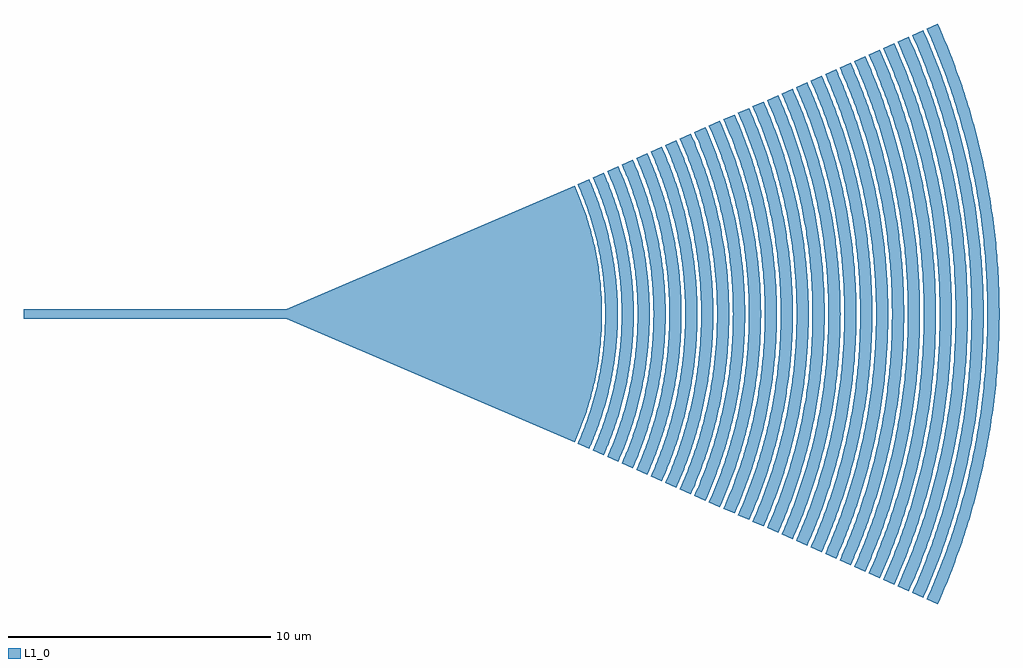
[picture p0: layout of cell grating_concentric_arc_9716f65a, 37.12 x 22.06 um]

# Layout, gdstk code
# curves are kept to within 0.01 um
import gdstk
lib = gdstk.Library(unit=1e-6, precision=2e-09)
def R(c, l, rs):  # rectangles x0, y0, x1, y1
    for r in rs: c.add(gdstk.rectangle(r[:2], r[2:], *l))
def P(c, l, *ps):  # polygons
    for p in ps: c.add(gdstk.Polygon(p, *l))
L1_0 = (1, 0)

straight_3aa2beef = lib.new_cell('straight_3aa2beef')
R(straight_3aa2beef, L1_0, [(0,-0.174,10,0.174)])

ring_5425ca11_transform_ = lib.new_cell('ring_5425ca11_transform_9e591df8')
P(ring_5425ca11_transform_, L1_0, [(11.074,-4.93),(11.24,-4.542),(11.462,-3.946),(11.634,-3.41),(11.78,-2.864),(11.9,-2.314),(12.004,-1.688),(12.064,-1.196),(12.11,-0.564),(12.122,0.142),(12.088,0.916),(12.024,1.548),(11.9,2.314),(11.728,3.07),(11.572,3.612),(11.318,4.344),(11.074,4.93),(11.514,5.126),(11.742,4.586),(11.988,3.896),(12.176,3.262),(12.374,2.406),(12.502,1.608),(12.574,0.88),(12.604,0.146),(12.592,-0.586),(12.52,-1.464),(12.374,-2.406),(12.176,-3.262),(12.076,-3.616),(11.87,-4.242),(11.514,-5.126)])

ring_3b94242a_transform_ = lib.new_cell('ring_3b94242a_transform_ae94267e')
P(ring_3b94242a_transform_, L1_0, [(11.648,-5.186),(11.904,-4.57),(12.08,-4.08),(12.236,-3.586),(12.424,-2.868),(12.544,-2.288),(12.646,-1.628),(12.702,-1.112),(12.74,-0.52),(12.75,0.148),(12.714,0.964),(12.646,1.628),(12.544,2.288),(12.424,2.868),(12.236,3.586),(11.982,4.36),(11.648,5.186),(12.068,5.372),(12.36,4.662),(12.61,3.936),(12.818,3.196),(12.982,2.446),(13.112,1.61),(13.178,0.922),(13.21,0.076),(13.196,-0.614),(13.112,-1.61),(12.982,-2.446),(12.78,-3.344),(12.49,-4.3),(12.276,-4.878),(12.068,-5.372)])

ring_590d5041_transform_ = lib.new_cell('ring_590d5041_transform_d5f68341')
P(ring_590d5041_transform_, L1_0, [(12.2,-5.432),(12.496,-4.714),(12.702,-4.126),(12.88,-3.532),(13.03,-2.928),(13.166,-2.242),(13.256,-1.628),(13.328,-0.854),(13.35,-0.388),(13.35,0.388),(13.304,1.164),(13.236,1.782),(13.11,2.548),(12.92,3.382),(12.702,4.126),(12.496,4.714),(12.2,5.432),(12.62,5.618),(12.926,4.876),(13.186,4.116),(13.424,3.264),(13.576,2.556),(13.702,1.764),(13.786,0.884),(13.814,0.16),(13.8,-0.642),(13.712,-1.684),(13.576,-2.556),(13.344,-3.576),(13.114,-4.346),(12.868,-5.026),(12.62,-5.618)])

ring_b0ef972c_transform_ = lib.new_cell('ring_b0ef972c_transform_a932f15d')
P(ring_b0ef972c_transform_, L1_0, [(12.752,-5.678),(12.974,-5.154),(13.226,-4.468),(13.396,-3.926),(13.584,-3.22),(13.734,-2.504),(13.846,-1.782),(13.914,-1.136),(13.954,-0.406),(13.954,0.406),(13.914,1.136),(13.824,1.942),(13.688,2.744),(13.484,3.612),(13.302,4.236),(13.062,4.926),(12.752,5.678),(13.172,5.864),(13.55,4.932),(13.814,4.136),(14.05,3.244),(14.186,2.586),(14.312,1.758),(14.39,0.922),(14.418,0.168),(14.404,-0.67),(14.322,-1.674),(14.186,-2.586),(13.95,-3.65),(13.688,-4.536),(13.462,-5.168),(13.172,-5.864)])

ring_9b2fea34_transform_ = lib.new_cell('ring_9b2fea34_transform_ec5ced62')
P(ring_9b2fea34_transform_, L1_0, [(13.306,-5.924),(13.536,-5.378),(13.852,-4.5),(14.046,-3.852),(14.21,-3.194),(14.358,-2.446),(14.446,-1.858),(14.516,-1.184),(14.556,-0.508),(14.556,0.508),(14.502,1.354),(14.398,2.194),(14.264,2.946),(14.09,3.688),(13.878,4.42),(13.536,5.378),(13.306,5.924),(13.724,6.11),(14.026,5.384),(14.316,4.56),(14.578,3.634),(14.748,2.866),(14.89,2.004),(14.988,1.048),(15.022,0.262),(15.012,-0.612),(14.942,-1.57),(14.796,-2.608),(14.578,-3.634),(14.316,-4.56),(14.026,-5.384),(13.724,-6.11)])

ring_90b3880c_transform_ = lib.new_cell('ring_90b3880c_transform_84ff6cfa')
P(ring_90b3880c_transform_, L1_0, [(13.858,-6.17),(14.162,-5.436),(14.454,-4.604),(14.606,-4.096),(14.8,-3.326),(14.954,-2.548),(15.034,-2.024),(15.112,-1.322),(15.16,-0.53),(15.16,0.53),(15.112,1.322),(15.022,2.112),(14.874,2.98),(14.696,3.756),(14.454,4.604),(14.162,5.436),(13.858,6.17),(14.278,6.356),(14.558,5.686),(14.892,4.742),(15.12,3.958),(15.342,2.982),(15.464,2.266),(15.534,1.724),(15.584,1.18),(15.628,0.182),(15.616,-0.636),(15.534,-1.724),(15.422,-2.534),(15.208,-3.604),(15.048,-4.22),(14.892,-4.742),(14.558,-5.686),(14.278,-6.356)])

ring_0b2ab13f_transform_ = lib.new_cell('ring_0b2ab13f_transform_c422fffd')
P(ring_0b2ab13f_transform_, L1_0, [(14.41,-6.416),(14.66,-5.824),(14.974,-4.962),(15.188,-4.26),(15.37,-3.548),(15.534,-2.74),(15.656,-1.922),(15.736,-1.1),(15.77,-0.368),(15.764,0.55),(15.706,1.466),(15.608,2.286),(15.448,3.19),(15.26,3.994),(14.974,4.962),(14.66,5.824),(14.41,6.416),(14.83,6.602),(15.188,5.73),(15.468,4.926),(15.728,4.018),(15.934,3.098),(16.076,2.26),(16.18,1.32),(16.224,0.566),(16.224,-0.566),(16.154,-1.602),(16.034,-2.54),(15.818,-3.652),(15.552,-4.656),(15.222,-5.64),(14.83,-6.602)])

ring_5a8a01f6_transform_ = lib.new_cell('ring_5a8a01f6_transform_4ce43796')
P(ring_5a8a01f6_transform_, L1_0, [(14.962,-6.662),(15.222,-6.046),(15.548,-5.152),(15.796,-4.332),(15.98,-3.592),(16.13,-2.844),(16.268,-1.902),(16.332,-1.238),(16.372,-0.476),(16.372,0.476),(16.316,1.428),(16.206,2.374),(16.06,3.218),(15.796,4.332),(15.548,5.152),(15.222,6.046),(14.962,6.662),(15.382,6.848),(15.72,6.034),(16.074,5.016),(16.29,4.264),(16.51,3.308),(16.688,2.246),(16.79,1.272),(16.834,0.392),(16.828,-0.588),(16.79,-1.272),(16.736,-1.858),(16.582,-2.924),(16.362,-3.978),(16.074,-5.016),(15.72,-6.034),(15.382,-6.848)])

ring_5c50d978_transform_ = lib.new_cell('ring_5c50d978_transform_b5c73ce3')
P(ring_5c50d978_transform_, L1_0, [(15.514,-6.908),(15.856,-6.086),(16.122,-5.342),(16.326,-4.682),(16.592,-3.628),(16.726,-2.95),(16.832,-2.266),(16.934,-1.284),(16.976,-0.494),(16.976,0.494),(16.934,1.284),(16.832,2.266),(16.672,3.24),(16.526,3.916),(16.242,4.966),(15.856,6.086),(15.514,6.908),(15.934,7.094),(16.248,6.346),(16.62,5.294),(16.9,4.318),(17.142,3.228),(17.3,2.226),(17.384,1.42),(17.436,0.508),(17.436,-0.508),(17.368,-1.622),(17.3,-2.226),(17.212,-2.828),(16.996,-3.924),(16.71,-5.002),(16.356,-6.06),(15.934,-7.094)])

ring_9320d93a_transform_ = lib.new_cell('ring_9320d93a_transform_d93f3239')
P(ring_9320d93a_transform_, L1_0, [(16.068,-7.154),(16.346,-6.494),(16.696,-5.532),(16.934,-4.75),(17.138,-3.956),(17.338,-2.954),(17.444,-2.244),(17.538,-1.328),(17.584,-0.41),(17.578,0.614),(17.512,1.634),(17.388,2.65),(17.204,3.656),(16.962,4.65),(16.728,5.434),(16.42,6.302),(16.068,7.154),(16.488,7.34),(16.886,6.37),(17.228,5.376),(17.46,4.57),(17.696,3.546),(17.872,2.512),(17.988,1.468),(18.04,0.524),(18.04,-0.524),(17.97,-1.678),(17.826,-2.824),(17.608,-3.958),(17.46,-4.57),(17.29,-5.176),(17.132,-5.676),(16.886,-6.37),(16.488,-7.34)])

ring_2aed73ff_transform_ = lib.new_cell('ring_2aed73ff_transform_2897525f')
P(ring_2aed73ff_transform_, L1_0, [(16.62,-7.4),(16.984,-6.52),(17.27,-5.722),(17.488,-5.014),(17.75,-3.99),(17.952,-2.95),(18.07,-2.112),(18.156,-1.164),(18.188,-0.424),(18.182,0.634),(18.124,1.586),(18.016,2.532),(17.838,3.576),(17.6,4.606),(17.334,5.522),(16.984,6.52),(16.62,7.4),(17.04,7.586),(17.414,6.684),(17.806,5.558),(18.072,4.618),(18.31,3.558),(18.456,2.704),(18.582,1.626),(18.648,0.434),(18.648,-0.434),(18.582,-1.626),(18.44,-2.81),(18.222,-3.984),(18.072,-4.618),(17.9,-5.246),(17.528,-6.38),(17.294,-6.988),(17.04,-7.586)])

ring_c9a79b60_transform_ = lib.new_cell('ring_c9a79b60_transform_372948f2')
P(ring_c9a79b60_transform_, L1_0, [(17.172,-7.646),(17.51,-6.838),(17.844,-5.912),(18.07,-5.182),(18.316,-4.228),(18.512,-3.264),(18.644,-2.4),(18.744,-1.42),(18.79,-0.546),(18.79,0.546),(18.744,1.42),(18.63,2.508),(18.452,3.586),(18.266,4.442),(17.944,5.6),(17.588,6.634),(17.172,7.646),(17.592,7.832),(18.018,6.796),(18.382,5.738),(18.658,4.768),(18.904,3.674),(19.1,2.458),(19.202,1.456),(19.252,0.448),(19.246,-0.672),(19.218,-1.232),(19.152,-2.012),(19.002,-3.124),(18.904,-3.674),(18.764,-4.332),(18.48,-5.416),(18.28,-6.058),(18.096,-6.586),(17.812,-7.318),(17.592,-7.832)])

ring_6193f4fa_transform_ = lib.new_cell('ring_6193f4fa_transform_ac2570c3')
P(ring_6193f4fa_transform_, L1_0, [(17.724,-7.892),(18.114,-6.954),(18.418,-6.102),(18.682,-5.24),(18.93,-4.254),(19.108,-3.37),(19.258,-2.364),(19.37,-1.128),(19.4,-0.338),(19.382,0.902),(19.308,1.916),(19.164,3.036),(19.002,3.924),(18.77,4.912),(18.488,5.888),(18.114,6.954),(17.724,7.892),(18.144,8.078),(18.584,7.01),(18.89,6.138),(19.244,4.916),(19.452,4.016),(19.652,2.878),(19.786,1.732),(19.854,0.578),(19.854,-0.578),(19.776,-1.846),(19.7,-2.536),(19.618,-3.108),(19.404,-4.242),(19.244,-4.916),(19.028,-5.696),(18.854,-6.248),(18.584,-7.01),(18.144,-8.078)])

ring_9e589ffa_transform_ = lib.new_cell('ring_9e589ffa_transform_4279bda3')
P(ring_9e589ffa_transform_, L1_0, [(18.278,-8.138),(18.72,-7.062),(18.992,-6.294),(19.326,-5.178),(19.546,-4.274),(19.742,-3.244),(19.872,-2.322),(19.95,-1.512),(20.002,-0.466),(20.002,0.466),(19.95,1.512),(19.844,2.554),(19.64,3.818),(19.384,4.952),(19.064,6.072),(18.72,7.062),(18.278,8.138),(18.696,8.324),(19.15,7.224),(19.502,6.212),(19.83,5.066),(20.068,4.022),(20.268,2.848),(20.398,1.666),(20.458,0.596),(20.458,-0.596),(20.432,-1.19),(20.378,-1.902),(20.284,-2.73),(20.196,-3.32),(20.068,-4.022),(19.942,-4.604),(19.674,-5.642),(19.502,-6.212),(19.232,-7),(18.932,-7.778),(18.696,-8.324)])

ring_2cb3499e_transform_ = lib.new_cell('ring_2cb3499e_transform_0e2550ec')
P(ring_2cb3499e_transform_, L1_0, [(18.83,-8.384),(19.2,-7.498),(19.566,-6.484),(19.814,-5.682),(20.084,-4.636),(20.278,-3.698),(20.458,-2.512),(20.562,-1.438),(20.606,-0.48),(20.606,0.48),(20.584,1.078),(20.534,1.796),(20.394,2.988),(20.21,4.05),(20,4.986),(19.814,5.682),(19.64,6.256),(19.286,7.274),(18.83,8.384),(19.25,8.57),(19.672,7.552),(20.078,6.394),(20.354,5.454),(20.636,4.26),(20.83,3.176),(20.98,1.958),(21.054,0.858),(21.07,0.246),(21.066,-0.49),(21.002,-1.714),(20.914,-2.568),(20.83,-3.176),(20.636,-4.26),(20.504,-4.86),(20.288,-5.69),(20.078,-6.394),(19.842,-7.092),(19.628,-7.666),(19.25,-8.57)])

ring_676bd931_transform_ = lib.new_cell('ring_676bd931_transform_cbda2819')
P(ring_676bd931_transform_, L1_0, [(19.382,-8.63),(19.808,-7.604),(20.14,-6.674),(20.462,-5.61),(20.7,-4.652),(20.916,-3.562),(21.058,-2.586),(21.156,-1.604),(21.214,-0.37),(21.204,0.74),(21.136,1.85),(21.01,2.952),(20.916,3.562),(20.778,4.29),(20.494,5.492),(20.216,6.438),(19.808,7.604),(19.382,8.63),(19.802,8.816),(20.098,8.12),(20.326,7.532),(20.654,6.578),(21.002,5.366),(21.254,4.26),(21.368,3.64),(21.482,2.892),(21.594,1.89),(21.658,0.882),(21.676,0.126),(21.67,-0.504),(21.64,-1.26),(21.594,-1.89),(21.53,-2.516),(21.428,-3.266),(21.302,-4.012),(21.176,-4.63),(20.87,-5.854),(20.654,-6.578),(20.412,-7.294),(20.098,-8.12),(19.802,-8.816)])

ring_ad07e3b5_transform_ = lib.new_cell('ring_ad07e3b5_transform_932ab8a8')
P(ring_ad07e3b5_transform_, L1_0, [(19.934,-8.876),(20.372,-7.82),(20.714,-6.864),(21.078,-5.648),(21.318,-4.66),(21.512,-3.664),(21.674,-2.534),(21.768,-1.522),(21.816,-0.508),(21.808,0.762),(21.738,1.902),(21.626,2.912),(21.512,3.664),(21.396,4.288),(21.142,5.402),(20.792,6.622),(20.372,7.82),(19.934,8.876),(20.354,9.062),(20.754,8.106),(21.024,7.376),(21.23,6.762),(21.554,5.642),(21.71,5.012),(21.872,4.252),(22.046,3.23),(22.196,1.942),(22.272,0.648),(22.272,-0.648),(22.196,-1.942),(22.046,-3.23),(21.92,-3.996),(21.794,-4.632),(21.65,-5.264),(21.418,-6.142),(21.15,-7.008),(20.892,-7.742),(20.61,-8.466),(20.354,-9.062)])

ring_7f76ca37_transform_ = lib.new_cell('ring_7f76ca37_transform_432ad00a')
P(ring_7f76ca37_transform_, L1_0, [(20.486,-9.122),(20.89,-8.158),(21.288,-7.054),(21.628,-5.93),(21.88,-4.918),(22.108,-3.766),(22.274,-2.604),(22.372,-1.564),(22.42,-0.522),(22.42,0.522),(22.352,1.824),(22.226,2.992),(22.014,4.28),(21.76,5.426),(21.408,6.682),(21.162,7.424),(20.89,8.158),(20.486,9.122),(20.906,9.308),(21.366,8.202),(21.766,7.072),(22.106,5.924),(22.386,4.758),(22.604,3.58),(22.774,2.26),(22.83,1.596),(22.872,0.798),(22.88,-0.532),(22.81,-1.862),(22.746,-2.524),(22.644,-3.316),(22.538,-3.974),(22.386,-4.758),(22.238,-5.408),(22.036,-6.18),(21.766,-7.072),(21.506,-7.828),(21.268,-8.45),(20.906,-9.308)])

ring_e2cdfd6f_transform_ = lib.new_cell('ring_e2cdfd6f_transform_f64a8ae9')
P(ring_e2cdfd6f_transform_, L1_0, [(21.04,-9.368),(21.5,-8.254),(21.862,-7.244),(22.174,-6.22),(22.47,-5.05),(22.704,-3.868),(22.842,-2.94),(22.954,-1.874),(22.992,-1.34),(23.024,-0.536),(23.024,0.536),(22.992,1.34),(22.954,1.874),(22.89,2.54),(22.788,3.338),(22.582,4.526),(22.28,5.832),(21.904,7.116),(21.5,8.254),(21.04,9.368),(21.46,9.554),(21.93,8.418),(22.166,7.776),(22.424,6.998),(22.758,5.816),(23.032,4.616),(23.262,3.27),(23.332,2.728),(23.412,1.912),(23.48,0.684),(23.484,-0.546),(23.458,-1.23),(23.412,-1.912),(23.332,-2.728),(23.222,-3.54),(23.084,-4.348),(22.948,-5.018),(22.618,-6.344),(22.424,-6.998),(22.074,-8.034),(21.78,-8.8),(21.46,-9.554)])

ring_484d4397_transform_ = lib.new_cell('ring_484d4397_transform_83672da9')
P(ring_484d4397_transform_, L1_0, [(21.592,-9.614),(22.066,-8.47),(22.436,-7.434),(22.758,-6.382),(22.934,-5.718),(23.09,-5.048),(23.3,-3.968),(23.476,-2.744),(23.578,-1.648),(23.632,-0.412),(23.626,0.688),(23.546,2.06),(23.406,3.29),(23.3,3.968),(23.174,4.644),(22.9,5.852),(22.562,7.042),(22.348,7.694),(22.066,8.47),(21.592,9.614),(22.012,9.8),(22.444,8.766),(22.69,8.11),(22.916,7.446),(23.162,6.642),(23.31,6.1),(23.478,5.42),(23.624,4.736),(23.776,3.908),(23.86,3.354),(24.004,2.1),(24.08,0.84),(24.092,-0.42),(24.062,-1.262),(24.004,-2.1),(23.86,-3.354),(23.704,-4.322),(23.568,-5.01),(23.446,-5.556),(23.238,-6.372),(22.916,-7.446),(22.69,-8.11),(22.288,-9.156),(22.012,-9.8)])

ring_b04d06fa_transform_ = lib.new_cell('ring_b04d06fa_transform_41ad75f5')
P(ring_b04d06fa_transform_, L1_0, [(22.144,-9.86),(22.58,-8.818),(23.01,-7.624),(23.378,-6.41),(23.65,-5.316),(23.872,-4.21),(24.06,-2.954),(24.16,-1.972),(24.234,-0.564),(24.24,0.142),(24.226,0.846),(24.148,2.112),(24.06,2.954),(23.984,3.514),(23.768,4.764),(23.486,6),(23.14,7.222),(22.92,7.892),(22.68,8.556),(22.422,9.212),(22.144,9.86),(22.564,10.046),(23.008,8.986),(23.446,7.77),(23.662,7.084),(23.858,6.392),(24.034,5.696),(24.19,4.994),(24.324,4.29),(24.46,3.438),(24.606,2.152),(24.684,0.862),(24.696,-0.432),(24.666,-1.292),(24.618,-2.01),(24.46,-3.438),(24.324,-4.29),(24.19,-4.994),(24.034,-5.696),(23.858,-6.392),(23.578,-7.358),(23.306,-8.178),(23.008,-8.986),(22.564,-10.046)])

ring_d3a0dc03_transform_ = lib.new_cell('ring_d3a0dc03_transform_da266125')
P(ring_d3a0dc03_transform_, L1_0, [(22.696,-10.106),(23.194,-8.904),(23.584,-7.814),(23.922,-6.71),(24.142,-5.87),(24.272,-5.306),(24.468,-4.314),(24.66,-3.028),(24.774,-1.878),(24.838,-0.578),(24.83,0.868),(24.738,2.31),(24.582,3.6),(24.468,4.314),(24.332,5.024),(24.036,6.29),(23.842,6.986),(23.628,7.678),(23.194,8.904),(22.696,10.106),(23.116,10.292),(23.624,9.068),(23.878,8.378),(24.156,7.538),(24.404,6.692),(24.552,6.122),(24.84,4.828),(25.038,3.668),(25.134,2.938),(25.208,2.206),(25.262,1.472),(25.294,0.736),(25.298,-0.588),(25.262,-1.472),(25.208,-2.206),(25.134,-2.938),(25.038,-3.668),(24.92,-4.394),(24.752,-5.262),(24.404,-6.692),(24.156,-7.538),(23.878,-8.378),(23.462,-9.48),(23.116,-10.292)])

ring_8185dfd7_transform_ = lib.new_cell('ring_8185dfd7_transform_ec089148')
P(ring_8185dfd7_transform_, L1_0, [(23.25,-10.352),(23.76,-9.12),(24.25,-7.724),(24.62,-6.444),(24.894,-5.292),(25.136,-3.982),(25.278,-2.954),(25.398,-1.628),(25.446,-0.444),(25.434,0.888),(25.398,1.628),(25.34,2.366),(25.202,3.542),(25.088,4.274),(24.954,5.002),(24.658,6.3),(24.464,7.014),(24.25,7.724),(23.76,9.12),(23.25,10.352),(23.668,10.538),(23.966,9.846),(24.242,9.144),(24.498,8.436),(24.732,7.72),(24.906,7.142),(25.14,6.268),(25.404,5.092),(25.636,3.756),(25.734,3.008),(25.824,2.108),(25.894,0.904),(25.908,0.302),(25.902,-0.602),(25.874,-1.356),(25.824,-2.108),(25.734,-3.008),(25.636,-3.756),(25.516,-4.5),(25.374,-5.24),(25.176,-6.122),(25.026,-6.706),(24.732,-7.72),(24.398,-8.72),(23.966,-9.846),(23.668,-10.538)])

ring_307a013f_transform_ = lib.new_cell('ring_307a013f_transform_1959954b')
P(ring_307a013f_transform_, L1_0, [(23.802,-10.598),(24.324,-9.336),(24.732,-8.196),(25.086,-7.036),(25.42,-5.714),(25.632,-4.674),(25.842,-3.326),(25.98,-1.968),(26.048,-0.606),(26.044,0.758),(25.968,2.12),(25.822,3.476),(25.71,4.226),(25.576,4.972),(25.42,5.714),(25.244,6.45),(24.826,7.906),(24.378,9.196),(24.1,9.9),(23.802,10.598),(24.222,10.784),(24.584,9.932),(24.808,9.358),(25.264,8.046),(25.65,6.714),(25.966,5.362),(26.188,4.148),(26.316,3.232),(26.384,2.618),(26.45,1.85),(26.492,1.08),(26.514,0.154),(26.51,-0.462),(26.478,-1.388),(26.426,-2.158),(26.352,-2.924),(26.256,-3.69),(26.138,-4.452),(25.966,-5.362),(25.65,-6.714),(25.356,-7.752),(24.968,-8.924),(24.584,-9.932),(24.222,-10.784)])

ring_8edb75c8_transform_ = lib.new_cell('ring_8edb75c8_transform_44fd7b4f')
P(ring_8edb75c8_transform_, L1_0, [(24.354,-10.844),(24.888,-9.554),(25.306,-8.386),(25.71,-7.05),(26.044,-5.694),(26.306,-4.324),(26.496,-2.94),(26.614,-1.55),(26.658,-0.31),(26.658,0.31),(26.63,1.24),(26.544,2.478),(26.378,3.864),(26.14,5.238),(25.83,6.6),(25.626,7.348),(25.402,8.09),(24.944,9.408),(24.66,10.13),(24.354,10.844),(24.774,11.03),(25.318,9.718),(25.59,8.978),(25.84,8.23),(26.068,7.474),(26.274,6.714),(26.59,5.33),(26.832,3.93),(26.936,3.148),(27.016,2.364),(27.102,0.946),(27.118,0.158),(27.112,-0.632),(27.082,-1.42),(27.016,-2.364),(26.936,-3.148),(26.832,-3.93),(26.734,-4.554),(26.526,-5.638),(26.388,-6.254),(26.154,-7.172),(25.84,-8.23),(25.59,-8.978),(25.144,-10.158),(24.774,-11.03)])

grating_concentric_arc_9 = lib.new_cell('grating_concentric_arc_9716f65a')
P(grating_concentric_arc_9, L1_0, [(0,0.174),(0,-0.174),(10.962,-4.882),(11.006,-4.786),(11.24,-4.202),(11.476,-3.508),(11.644,-2.902),(11.78,-2.29),(11.868,-1.774),(11.954,-1.046),(11.99,-0.524),(12,0.104),(11.99,0.524),(11.934,1.254),(11.836,1.98),(11.738,2.496),(11.564,3.206),(11.38,3.808),(11.126,4.496),(10.962,4.882)])
grating_concentric_arc_9.add(gdstk.Reference(straight_3aa2beef, (-10,0)))
grating_concentric_arc_9.add(gdstk.Reference(ring_5425ca11_transform_, (0,0)))
grating_concentric_arc_9.add(gdstk.Reference(ring_3b94242a_transform_, (0,0)))
grating_concentric_arc_9.add(gdstk.Reference(ring_590d5041_transform_, (0,0)))
grating_concentric_arc_9.add(gdstk.Reference(ring_b0ef972c_transform_, (0,0)))
grating_concentric_arc_9.add(gdstk.Reference(ring_9b2fea34_transform_, (0,0)))
grating_concentric_arc_9.add(gdstk.Reference(ring_90b3880c_transform_, (0,0)))
grating_concentric_arc_9.add(gdstk.Reference(ring_0b2ab13f_transform_, (0,0)))
grating_concentric_arc_9.add(gdstk.Reference(ring_5a8a01f6_transform_, (0,0)))
grating_concentric_arc_9.add(gdstk.Reference(ring_5c50d978_transform_, (0,0)))
grating_concentric_arc_9.add(gdstk.Reference(ring_9320d93a_transform_, (0,0)))
grating_concentric_arc_9.add(gdstk.Reference(ring_2aed73ff_transform_, (0,0)))
grating_concentric_arc_9.add(gdstk.Reference(ring_c9a79b60_transform_, (0,0)))
grating_concentric_arc_9.add(gdstk.Reference(ring_6193f4fa_transform_, (0,0)))
grating_concentric_arc_9.add(gdstk.Reference(ring_9e589ffa_transform_, (0,0)))
grating_concentric_arc_9.add(gdstk.Reference(ring_2cb3499e_transform_, (0,0)))
grating_concentric_arc_9.add(gdstk.Reference(ring_676bd931_transform_, (0,0)))
grating_concentric_arc_9.add(gdstk.Reference(ring_ad07e3b5_transform_, (0,0)))
grating_concentric_arc_9.add(gdstk.Reference(ring_7f76ca37_transform_, (0,0)))
grating_concentric_arc_9.add(gdstk.Reference(ring_e2cdfd6f_transform_, (0,0)))
grating_concentric_arc_9.add(gdstk.Reference(ring_484d4397_transform_, (0,0)))
grating_concentric_arc_9.add(gdstk.Reference(ring_b04d06fa_transform_, (0,0)))
grating_concentric_arc_9.add(gdstk.Reference(ring_d3a0dc03_transform_, (0,0)))
grating_concentric_arc_9.add(gdstk.Reference(ring_8185dfd7_transform_, (0,0)))
grating_concentric_arc_9.add(gdstk.Reference(ring_307a013f_transform_, (0,0)))
grating_concentric_arc_9.add(gdstk.Reference(ring_8edb75c8_transform_, (0,0)))

lib.write_gds('grating_concentric_arc_9716f65a.gds')
